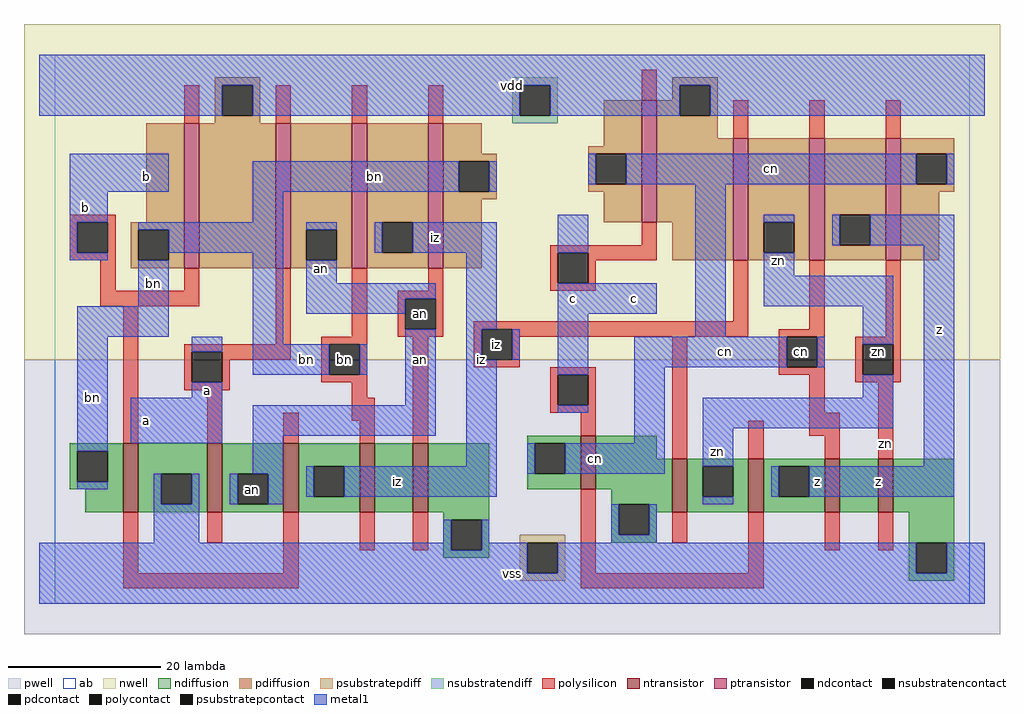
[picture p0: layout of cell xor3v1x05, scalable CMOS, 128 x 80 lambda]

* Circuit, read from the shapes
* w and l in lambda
.subckt xor3v1x05 a an b bn c cn iz vdd vss z zn
M1 vss b bn vss nfet w=9 l=2
M2 an a vss vss nfet w=9 l=2
M3 iz b an vss nfet w=9 l=2
M4 n1 bn iz vss nfet w=9 l=2
M5 vss an n1 vss nfet w=9 l=2
M6 vss c cn vss nfet w=7 l=2
M7 zn iz vss vss nfet w=7 l=2
M8 z c zn vss nfet w=7 l=2
M9 n2 cn z vss nfet w=7 l=2
M10 vss zn n2 vss nfet w=7 l=2
M11 vdd b bn vdd pfet w=19 l=2
M12 an a vdd vdd pfet w=19 l=2
M13 iz bn an vdd pfet w=19 l=2
M14 bn an iz vdd pfet w=19 l=2
M15 vdd c cn vdd pfet w=16 l=2
M16 zn iz vdd vdd pfet w=16 l=2
M17 z cn zn vdd pfet w=16 l=2
M18 cn zn z vdd pfet w=16 l=2
.ends

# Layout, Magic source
magic
tech scmos
<< ab >>
rect 0 0 120 72
<< pwell >>
rect -4 -4 124 32
<< nwell >>
rect -4 32 124 76
<< polysilicon >>
rect 17 63 19 68
rect 29 63 31 68
rect 39 63 41 68
rect 49 63 51 68
rect 77 66 79 70
rect 2 50 8 51
rect 2 46 3 50
rect 7 46 8 50
rect 2 45 8 46
rect 6 41 8 45
rect 89 61 91 66
rect 99 61 101 66
rect 109 61 111 66
rect 77 47 79 50
rect 65 46 79 47
rect 17 41 19 44
rect 6 39 19 41
rect 9 21 11 39
rect 29 34 31 44
rect 39 35 41 44
rect 49 41 51 44
rect 65 42 66 46
rect 70 45 79 46
rect 70 42 71 45
rect 65 41 71 42
rect 45 40 51 41
rect 45 36 46 40
rect 50 36 51 40
rect 89 37 91 45
rect 45 35 51 36
rect 55 36 91 37
rect 99 36 101 45
rect 17 33 31 34
rect 17 29 18 33
rect 22 32 31 33
rect 35 34 41 35
rect 22 29 23 32
rect 35 30 36 34
rect 40 30 41 34
rect 35 29 41 30
rect 17 28 23 29
rect 20 21 22 28
rect 39 27 41 29
rect 30 21 32 25
rect 39 24 42 27
rect 40 21 42 24
rect 47 21 49 35
rect 55 32 56 36
rect 60 35 91 36
rect 95 35 101 36
rect 109 35 111 45
rect 60 32 61 35
rect 55 31 61 32
rect 65 30 71 31
rect 65 26 66 30
rect 70 26 71 30
rect 65 25 71 26
rect 69 22 71 25
rect 81 19 83 35
rect 95 31 96 35
rect 100 31 101 35
rect 95 30 101 31
rect 99 25 101 30
rect 105 34 111 35
rect 105 30 106 34
rect 110 30 111 34
rect 105 29 111 30
rect 91 19 93 24
rect 99 22 103 25
rect 101 19 103 22
rect 108 19 110 29
rect 9 4 11 12
rect 20 8 22 12
rect 30 4 32 12
rect 40 7 42 12
rect 47 7 49 12
rect 9 2 32 4
rect 69 4 71 15
rect 81 8 83 12
rect 91 4 93 12
rect 101 7 103 12
rect 108 7 110 12
rect 69 2 93 4
<< ndiffusion >>
rect 62 21 69 22
rect 2 20 9 21
rect 2 16 3 20
rect 7 16 9 20
rect 2 15 9 16
rect 4 12 9 15
rect 11 17 20 21
rect 11 13 14 17
rect 18 13 20 17
rect 11 12 20 13
rect 22 17 30 21
rect 22 13 24 17
rect 28 13 30 17
rect 22 12 30 13
rect 32 18 40 21
rect 32 14 34 18
rect 38 14 40 18
rect 32 12 40 14
rect 42 12 47 21
rect 49 12 57 21
rect 62 17 63 21
rect 67 17 69 21
rect 62 15 69 17
rect 71 19 79 22
rect 71 15 81 19
rect 51 11 57 12
rect 51 7 52 11
rect 56 7 57 11
rect 51 6 57 7
rect 73 13 81 15
rect 73 9 74 13
rect 78 12 81 13
rect 83 18 91 19
rect 83 14 85 18
rect 89 14 91 18
rect 83 12 91 14
rect 93 18 101 19
rect 93 14 95 18
rect 99 14 101 18
rect 93 12 101 14
rect 103 12 108 19
rect 110 12 118 19
rect 78 9 79 12
rect 73 8 79 9
rect 112 8 118 12
rect 112 4 113 8
rect 117 4 118 8
rect 112 3 118 4
<< pdiffusion >>
rect 21 68 27 69
rect 21 64 22 68
rect 26 64 27 68
rect 21 63 27 64
rect 81 68 87 69
rect 81 66 82 68
rect 12 50 17 63
rect 10 49 17 50
rect 10 45 11 49
rect 15 45 17 49
rect 10 44 17 45
rect 19 44 29 63
rect 31 49 39 63
rect 31 45 33 49
rect 37 45 39 49
rect 31 44 39 45
rect 41 50 49 63
rect 41 46 43 50
rect 47 46 49 50
rect 41 44 49 46
rect 51 59 56 63
rect 72 60 77 66
rect 70 59 77 60
rect 51 58 58 59
rect 51 54 53 58
rect 57 54 58 58
rect 70 55 71 59
rect 75 55 77 59
rect 70 54 77 55
rect 51 53 58 54
rect 51 44 56 53
rect 72 50 77 54
rect 79 64 82 66
rect 86 64 87 68
rect 79 61 87 64
rect 79 50 89 61
rect 81 45 89 50
rect 91 50 99 61
rect 91 46 93 50
rect 97 46 99 50
rect 91 45 99 46
rect 101 51 109 61
rect 101 47 103 51
rect 107 47 109 51
rect 101 45 109 47
rect 111 59 118 61
rect 111 55 113 59
rect 117 55 118 59
rect 111 54 118 55
rect 111 45 116 54
<< metal1 >>
rect -2 68 122 72
rect -2 64 22 68
rect 26 64 61 68
rect 65 64 82 68
rect 86 64 122 68
rect 2 54 15 59
rect 26 54 53 58
rect 57 54 58 58
rect 70 55 71 59
rect 75 55 113 59
rect 117 55 118 59
rect 2 50 7 54
rect 26 50 30 54
rect 2 46 3 50
rect 2 45 7 46
rect 11 49 30 50
rect 15 46 30 49
rect 11 39 15 45
rect 3 35 15 39
rect 3 20 7 35
rect 18 33 22 35
rect 26 34 30 46
rect 33 49 37 50
rect 42 46 43 50
rect 47 46 58 50
rect 33 42 37 45
rect 33 40 50 42
rect 33 38 46 40
rect 26 30 36 34
rect 40 30 41 34
rect 18 27 22 29
rect 10 21 22 27
rect 46 26 50 36
rect 26 22 50 26
rect 54 36 58 46
rect 66 46 70 51
rect 66 38 79 42
rect 54 32 56 36
rect 60 32 61 36
rect 26 17 30 22
rect 54 18 58 32
rect 66 30 70 38
rect 84 35 88 55
rect 93 50 97 51
rect 102 47 103 51
rect 107 47 118 51
rect 93 43 97 46
rect 93 39 110 43
rect 66 25 70 26
rect 76 31 96 35
rect 100 31 101 35
rect 106 34 110 39
rect 76 21 80 31
rect 106 27 110 30
rect 3 15 7 16
rect 13 13 14 17
rect 18 13 19 17
rect 23 13 24 17
rect 28 13 30 17
rect 33 14 34 18
rect 38 14 58 18
rect 62 17 63 21
rect 67 17 80 21
rect 85 23 110 27
rect 85 18 89 23
rect 114 18 118 47
rect 94 14 95 18
rect 99 14 118 18
rect 85 13 89 14
rect 13 8 19 13
rect 51 8 52 11
rect -2 7 52 8
rect 56 8 57 11
rect 73 9 74 13
rect 78 9 79 13
rect 73 8 79 9
rect 56 7 62 8
rect -2 4 62 7
rect 66 4 113 8
rect 117 4 122 8
rect -2 0 122 4
<< ntransistor >>
rect 9 12 11 21
rect 20 12 22 21
rect 30 12 32 21
rect 40 12 42 21
rect 47 12 49 21
rect 69 15 71 22
rect 81 12 83 19
rect 91 12 93 19
rect 101 12 103 19
rect 108 12 110 19
<< ptransistor >>
rect 17 44 19 63
rect 29 44 31 63
rect 39 44 41 63
rect 49 44 51 63
rect 77 50 79 66
rect 89 45 91 61
rect 99 45 101 61
rect 109 45 111 61
<< polycontact >>
rect 3 46 7 50
rect 66 42 70 46
rect 46 36 50 40
rect 18 29 22 33
rect 36 30 40 34
rect 56 32 60 36
rect 66 26 70 30
rect 96 31 100 35
rect 106 30 110 34
<< ndcontact >>
rect 3 16 7 20
rect 14 13 18 17
rect 24 13 28 17
rect 34 14 38 18
rect 63 17 67 21
rect 52 7 56 11
rect 74 9 78 13
rect 85 14 89 18
rect 95 14 99 18
rect 113 4 117 8
<< pdcontact >>
rect 22 64 26 68
rect 11 45 15 49
rect 33 45 37 49
rect 43 46 47 50
rect 53 54 57 58
rect 71 55 75 59
rect 82 64 86 68
rect 93 46 97 50
rect 103 47 107 51
rect 113 55 117 59
<< psubstratepcontact >>
rect 62 4 66 8
<< nsubstratencontact >>
rect 61 64 65 68
<< psubstratepdiff >>
rect 61 8 67 9
rect 61 4 62 8
rect 66 4 67 8
rect 61 3 67 4
<< nsubstratendiff >>
rect 60 68 66 69
rect 60 64 61 68
rect 65 64 66 68
rect 60 63 66 64
<< labels >>
rlabel polycontact 38 32 38 32 6 bn
rlabel polycontact 48 38 48 38 6 an
rlabel polycontact 58 34 58 34 6 iz
rlabel polysilicon 109 21 109 21 6 zn
rlabel polycontact 98 33 98 33 6 cn
rlabel metal1 12 24 12 24 6 a
rlabel metal1 5 27 5 27 6 bn
rlabel metal1 13 42 13 42 6 bn
rlabel metal1 4 52 4 52 6 b
rlabel metal1 12 56 12 56 6 b
rlabel ndcontact 26 15 26 15 6 an
rlabel metal1 33 32 33 32 6 bn
rlabel metal1 20 28 20 28 6 a
rlabel metal1 35 44 35 44 6 an
rlabel metal1 60 4 60 4 6 vss
rlabel metal1 45 16 45 16 6 iz
rlabel metal1 48 32 48 32 6 an
rlabel metal1 68 40 68 40 6 c
rlabel metal1 56 32 56 32 6 iz
rlabel metal1 50 48 50 48 6 iz
rlabel metal1 42 56 42 56 6 bn
rlabel metal1 60 68 60 68 6 vdd
rlabel metal1 87 20 87 20 6 zn
rlabel metal1 71 19 71 19 6 cn
rlabel metal1 76 40 76 40 6 c
rlabel metal1 108 16 108 16 6 z
rlabel metal1 100 16 100 16 6 z
rlabel metal1 88 33 88 33 6 cn
rlabel metal1 116 36 116 36 6 z
rlabel metal1 95 45 95 45 6 zn
rlabel polycontact 108 33 108 33 6 zn
rlabel metal1 94 57 94 57 6 cn
<< end >>
